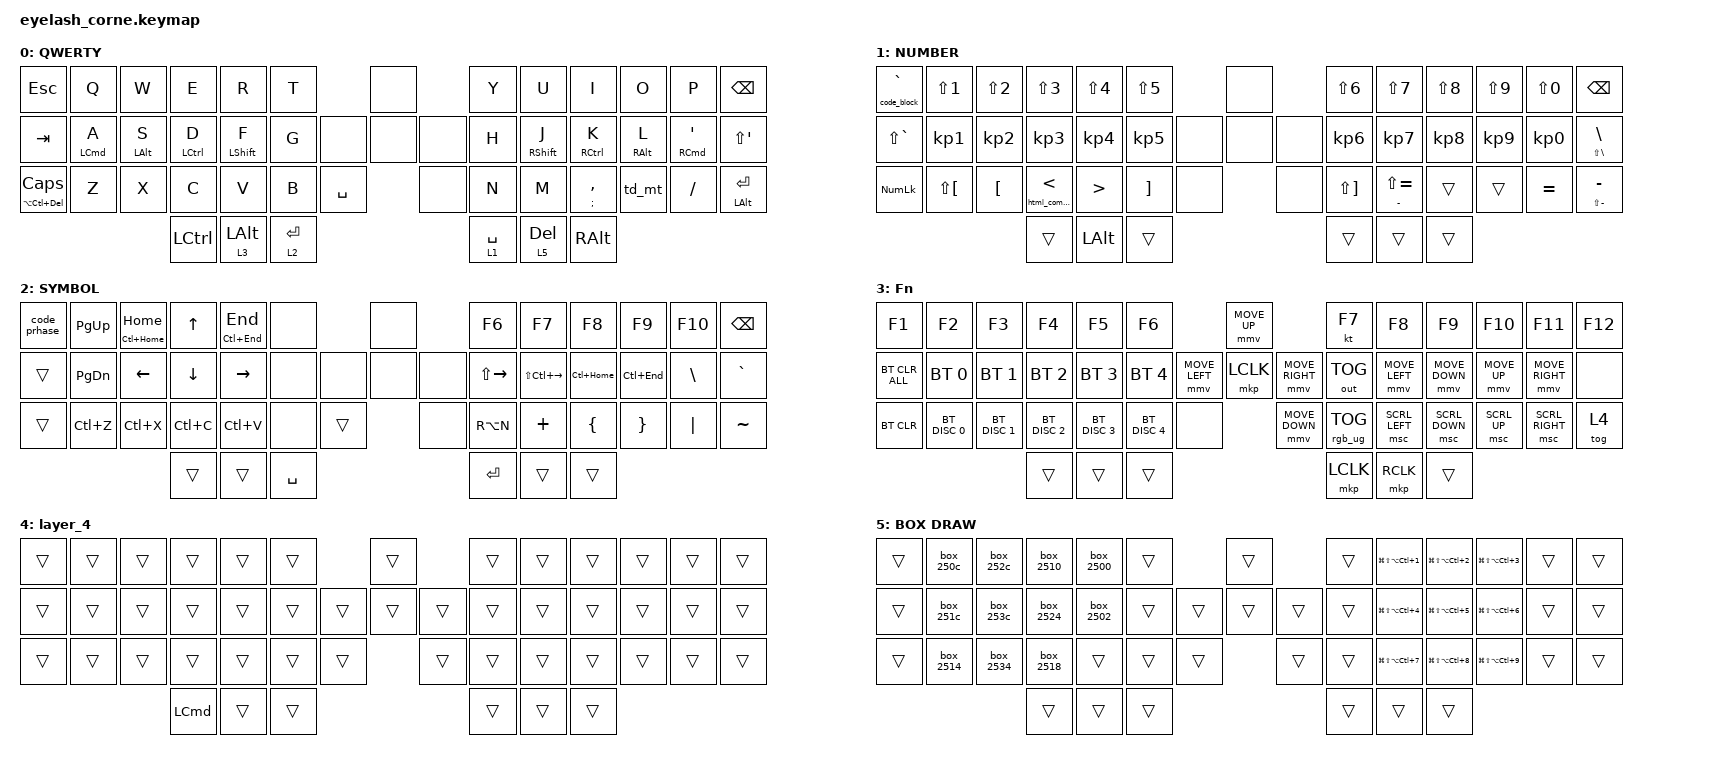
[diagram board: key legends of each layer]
#define ZMK_POINTING_DEFAULT_MOVE_VAL 1200  // 600
#define ZMK_POINTING_DEFAULT_SCRL_VAL 25   // 10

#include <input/processors.dtsi>
#include <zephyr/dt-bindings/input/input-event-codes.h>
#include <behaviors/unicode.dtsi>
#include <zmk-unicode/keys-extra.h>  // All glyphs except CJK
#include <behaviors.dtsi>
#include <dt-bindings/zmk/bt.h>
#include <dt-bindings/zmk/keys.h>
#include <dt-bindings/zmk/outputs.h>
#include <dt-bindings/zmk/pointing.h>
#include <dt-bindings/zmk/rgb.h>

&mmv_input_listener { input-processors = <&zip_xy_scaler 2 1>; };

&msc_input_listener { input-processors = <&zip_scroll_scaler 2 1>; };

&mt {
    tapping-term-ms = <280>; // This is the value already set by default
    flavor = "balanced";
    quick-tap-ms = <175>;
    require-prior-idle-ms = <150>;
};

// Windows HexNumpad input system (EnableHexNumpad registry trick, ver
// segundo-cerebro #871). Requerido: default-mode no tiene valor por
// defecto en el behavior &uc, sin esto el módulo cae al primer valor del
// enum, no necesariamente Windows.
&uc {
    default-mode = <UC_MODE_WIN_ALT>;
};

/ {
    behaviors {
        mt_shift: mt_shift {
            compatible = "zmk,behavior-hold-tap";
            label = "MT_SHIFT";
            #binding-cells = <2>;
            bindings = <&kp>, <&kp>;

            tapping-term-ms = <280>;
            flavor = "balanced";
            quick-tap-ms = <175>;
            require-prior-idle-ms = <50>;
        };
    };
};

&msc {
    acceleration-exponent = <0>;      // 0
    time-to-max-speed-ms = <0>;       // 300
    delay-ms = <0>;                   // 0
};

&mmv {
    time-to-max-speed-ms = <500>;
    acceleration-exponent = <1>;
    trigger-period-ms = <16>;
};

/ {
    behaviors {
        td_mt: tap_dance_mod_tap {
            compatible = "zmk,behavior-tap-dance";
            #binding-cells = <0>;
            tapping-term-ms = <200>;
            bindings = <&hold_tap 0 PERIOD>, <&kp COLON>;
        };

        td0: td0 {
            compatible = "zmk,behavior-tap-dance";
            display-name = "Shift/Caps Lock Tap Dance";
            #binding-cells = <0>;
            bindings = <&kp LEFT_SHIFT>, <&kp CAPS>;
        };

        hold_tap: hold_tap {
            compatible = "zmk,behavior-hold-tap";
            label = "HOLD_TAP";
            bindings = <&triple_dots>, <&kp>;

            #binding-cells = <2>;
            tapping-term-ms = <200>;
        };

        win_ios: win_ios {
            compatible = "zmk,behavior-key-toggle";
            label = "WIN_IOS";
            #binding-cells = <1>;
        };

        bhv_code_block: bhv_code_block {
            compatible = "zmk,behavior-hold-tap";
            label = "BHV_CODE_BLOCK";
            bindings = <&code_block>, <&kp>;

            #binding-cells = <2>;
            tapping-term-ms = <150>;
        };

        bhv_html_comment: bhv_html_comment {
            compatible = "zmk,behavior-hold-tap";
            label = "BHV_HTML_COMMENT";
            bindings = <&html_comment>, <&kp>;

            #binding-cells = <2>;
            tapping-term-ms = <150>;
        };

        bhv_code_phrase: bhv_code_phrase {
            compatible = "zmk,behavior-hold-tap";
            label = "BHV_CODE_PHRASE";
            bindings = <&code_block>, <&kp>;

            #binding-cells = <2>;
            tapping-term-ms = <150>;
        };
    };

    rgb_encoder: rgb_encoder {
        compatible = "zmk,behavior-sensor-rotate";
        #sensor-binding-cells = <0>;
        bindings = <&rgb_ug RGB_BRI>, <&rgb_ug RGB_BRD>;
    };

    scroll_encoder: scroll_encoder {
        compatible = "zmk,behavior-sensor-rotate";
        #sensor-binding-cells = <0>;
        bindings = <&msc SCRL_DOWN>, <&msc SCRL_UP>;

        tap-ms = <100>;
    };

    macros {
        mil_bendiciones: mil_bendiciones {
            compatible = "zmk,behavior-macro";
            #binding-cells = <0>;
            bindings =
                <&macro_tap_time 1>,
                <&kp M &kp I &kp L &kp SPACE &kp B &kp E &kp N &kp D &kp I &kp C &kp I &kp O &kp N &kp E &kp S>;

            label = "MIL_BENDICIONES";
        };

        triple_dots: triple_dots {
            compatible = "zmk,behavior-macro";
            #binding-cells = <0>;
            bindings = <&macro_tap_time 1>, <&kp DOT &kp DOT &kp DOT>;

            label = "TRIPLE_DOTS";
        };

        mil_gracias: mil_gracias {
            compatible = "zmk,behavior-macro";
            #binding-cells = <0>;
            bindings =
                <&macro_tap_time 1>,
                <&kp M &kp I &kp L &kp SPACE &kp G &kp R &kp A &kp C &kp I &kp A &kp S>;

            label = "MIL_GRACIAS";
        };

        code_block: code_block {
            compatible = "zmk,behavior-macro";
            #binding-cells = <0>;
            bindings =
                <&macro_tap_time 1>,
                <&kp GRAVE &kp GRAVE &kp GRAVE &kp SPACE &kp LS(ENTER) &kp LS(ENTER) &kp GRAVE &kp GRAVE &kp GRAVE &kp SPACE &kp UP_ARROW>;

            label = "CODE_BLOCK";
        };

        html_comment: html_comment {
            compatible = "zmk,behavior-macro";
            #binding-cells = <0>;
            bindings =
                <&macro_tap_time 1>,
                <&kp LESS_THAN &kp EXCLAMATION &kp MINUS &kp MINUS &kp SPACE &kp SPACE &kp MINUS &kp MINUS &kp GT &kp SPACE &kp LEFT_ARROW &kp LEFT_ARROW &kp LEFT_ARROW &kp LEFT_ARROW &kp LEFT_ARROW>;

            label = "HTML_COMMENT";
        };

        code_prhase: code_prhase {
            compatible = "zmk,behavior-macro";
            #binding-cells = <0>;
            bindings =
                <&macro_tap_time 1>,
                <&kp GRAVE &kp GRAVE &kp SPACE &kp LEFT &kp LEFT_ARROW>;

            label = "CODE_PRHASE";
        };

        // Macros de la capa BOX DRAW (layer_5). Reemplazan &uc 0x25XX para
        // evitar que UC_MODE_WIN_ALT envie los digitos hex por la fila
        // numerica (N0-N9, colisiona con alt+1..alt+0 de Sublime Text).
        // Misma secuencia que UC_MODE_WIN_ALT (ver behavior_unicode.c de
        // urob/zmk-unicode): sostener LALT, tap KP_PLUS, tap cada digito
        // hex, soltar LALT -- pero con KP_N0-KP_N9 para los digitos
        // numericos, igual que el numpad fisico manual que nunca tuvo el
        // problema. La letra hex "C" (unica que aparece en este bloque)
        // se deja igual, ya funcionaba sin conflicto.
        //
        // &macro_press deja el MACRO ENTERO en modo "solo presionar" hasta
        // el siguiente cambio de modo (no solo la tecla que lo acompana,
        // ver behavior_macro.c de zmkfirmware/zmk), por eso hace falta
        // &macro_tap explicito antes de los digitos para volver a
        // presionar-y-soltar normal; sin eso, KP_PLUS y los digitos
        // quedan fisicamente presionados y nunca se sueltan.
        box_250c: box_250c {
            compatible = "zmk,behavior-macro";
            #binding-cells = <0>;
            bindings =
                <&macro_tap_time 5>,
                <&macro_wait_time 0>,
                <&macro_press &kp LALT>,
                <&macro_tap &kp KP_PLUS &kp KP_N2 &kp KP_N5 &kp KP_N0 &kp C>,
                <&macro_release &kp LALT>;

            label = "BOX_250C";
        };

        box_252c: box_252c {
            compatible = "zmk,behavior-macro";
            #binding-cells = <0>;
            bindings =
                <&macro_tap_time 5>,
                <&macro_wait_time 0>,
                <&macro_press &kp LALT>,
                <&macro_tap &kp KP_PLUS &kp KP_N2 &kp KP_N5 &kp KP_N2 &kp C>,
                <&macro_release &kp LALT>;

            label = "BOX_252C";
        };

        box_2510: box_2510 {
            compatible = "zmk,behavior-macro";
            #binding-cells = <0>;
            bindings =
                <&macro_tap_time 5>,
                <&macro_wait_time 0>,
                <&macro_press &kp LALT>,
                <&macro_tap &kp KP_PLUS &kp KP_N2 &kp KP_N5 &kp KP_N1 &kp KP_N0>,
                <&macro_release &kp LALT>;

            label = "BOX_2510";
        };

        box_2500: box_2500 {
            compatible = "zmk,behavior-macro";
            #binding-cells = <0>;
            bindings =
                <&macro_tap_time 5>,
                <&macro_wait_time 0>,
                <&macro_press &kp LALT>,
                <&macro_tap &kp KP_PLUS &kp KP_N2 &kp KP_N5 &kp KP_N0 &kp KP_N0>,
                <&macro_release &kp LALT>;

            label = "BOX_2500";
        };

        box_251c: box_251c {
            compatible = "zmk,behavior-macro";
            #binding-cells = <0>;
            bindings =
                <&macro_tap_time 5>,
                <&macro_wait_time 0>,
                <&macro_press &kp LALT>,
                <&macro_tap &kp KP_PLUS &kp KP_N2 &kp KP_N5 &kp KP_N1 &kp C>,
                <&macro_release &kp LALT>;

            label = "BOX_251C";
        };

        box_253c: box_253c {
            compatible = "zmk,behavior-macro";
            #binding-cells = <0>;
            bindings =
                <&macro_tap_time 5>,
                <&macro_wait_time 0>,
                <&macro_press &kp LALT>,
                <&macro_tap &kp KP_PLUS &kp KP_N2 &kp KP_N5 &kp KP_N3 &kp C>,
                <&macro_release &kp LALT>;

            label = "BOX_253C";
        };

        box_2524: box_2524 {
            compatible = "zmk,behavior-macro";
            #binding-cells = <0>;
            bindings =
                <&macro_tap_time 5>,
                <&macro_wait_time 0>,
                <&macro_press &kp LALT>,
                <&macro_tap &kp KP_PLUS &kp KP_N2 &kp KP_N5 &kp KP_N2 &kp KP_N4>,
                <&macro_release &kp LALT>;

            label = "BOX_2524";
        };

        box_2502: box_2502 {
            compatible = "zmk,behavior-macro";
            #binding-cells = <0>;
            bindings =
                <&macro_tap_time 5>,
                <&macro_wait_time 0>,
                <&macro_press &kp LALT>,
                <&macro_tap &kp KP_PLUS &kp KP_N2 &kp KP_N5 &kp KP_N0 &kp KP_N2>,
                <&macro_release &kp LALT>;

            label = "BOX_2502";
        };

        box_2514: box_2514 {
            compatible = "zmk,behavior-macro";
            #binding-cells = <0>;
            bindings =
                <&macro_tap_time 5>,
                <&macro_wait_time 0>,
                <&macro_press &kp LALT>,
                <&macro_tap &kp KP_PLUS &kp KP_N2 &kp KP_N5 &kp KP_N1 &kp KP_N4>,
                <&macro_release &kp LALT>;

            label = "BOX_2514";
        };

        box_2534: box_2534 {
            compatible = "zmk,behavior-macro";
            #binding-cells = <0>;
            bindings =
                <&macro_tap_time 5>,
                <&macro_wait_time 0>,
                <&macro_press &kp LALT>,
                <&macro_tap &kp KP_PLUS &kp KP_N2 &kp KP_N5 &kp KP_N3 &kp KP_N4>,
                <&macro_release &kp LALT>;

            label = "BOX_2534";
        };

        box_2518: box_2518 {
            compatible = "zmk,behavior-macro";
            #binding-cells = <0>;
            bindings =
                <&macro_tap_time 5>,
                <&macro_wait_time 0>,
                <&macro_press &kp LALT>,
                <&macro_tap &kp KP_PLUS &kp KP_N2 &kp KP_N5 &kp KP_N1 &kp KP_N8>,
                <&macro_release &kp LALT>;

            label = "BOX_2518";
        };
    };

    combos {
        compatible = "zmk,combos";

        cmb_mil_bendiciones {
            bindings = <&mil_bendiciones>;
            key-positions = <33 37>;
        };

        cmb_mil_gracias {
            bindings = <&mil_gracias>;
            key-positions = <18 37>;
        };

        semi_colon {
            bindings = <&kp COLON>;
            key-positions = <38 39>;
        };
    };

    keymap {
        compatible = "zmk,keymap";

        default_layer {
            display-name = "QWERTY";
            bindings = <
&kp ESCAPE                   &kp Q               &kp W           &kp E               &kp R                   &kp T                            &none         &kp Y        &kp U                    &kp I                &kp O            &kp P                           &kp BSPC
&kp TAB                      &mt LEFT_COMMAND A  &mt LEFT_ALT S  &mt LEFT_CONTROL D  &mt_shift LEFT_SHIFT F  &kp G                     &none  &none  &none  &kp H        &mt_shift RIGHT_SHIFT J  &mt RIGHT_CONTROL K  &mt RIGHT_ALT L  &mt RIGHT_COMMAND SINGLE_QUOTE  &kp LS(SINGLE_QUOTE)
&mt LA(LC(DELETE)) CAPSLOCK  &kp Z               &kp X           &kp C               &kp V                   &kp B        &kp SPACE           &none         &kp N        &kp M                    &mt SEMICOLON COMMA  &td_mt           &kp FSLH                        &mt LEFT_ALT ENTER
                                                                 &kp LEFT_CONTROL    &lt 3 LEFT_ALT          &lt 2 ENTER                                    &lt 1 SPACE  &lt 5 DEL                &kp RALT
            >;

            // sensor-bindings = <&inc_dec_kp C_VOLUME_UP C_VOLUME_DOWN>;
        };

        lower_layer {
            display-name = "NUMBER";
            bindings = <
&bhv_code_block 0 GRAVE  &kp LS(NUMBER_1)      &kp LS(NUMBER_2)  &kp LS(NUMBER_3)               &kp LS(NUMBER_4)  &kp LS(NUMBER_5)                   &none         &kp LS(NUMBER_6)       &kp LS(NUMBER_7)     &kp LS(NUMBER_8)  &kp LS(NUMBER_9)  &kp LS(NUMBER_0)  &kp BSPC
&kp LS(GRAVE)            &kp KP_N1             &kp KP_N2         &kp KP_N3                      &kp KP_N4         &kp KP_N5                   &none  &none  &none  &kp KP_N6              &kp KP_N7            &kp KP_N8         &kp KP_N9         &kp KP_N0         &mt LS(BACKSLASH) BACKSLASH
&kp KP_NLCK              &kp LS(LEFT_BRACKET)  &kp LEFT_BRACKET  &bhv_html_comment 0 LESS_THAN  &kp GREATER_THAN  &kp RIGHT_BRACKET  &none           &none         &kp LS(RIGHT_BRACKET)  &mt MINUS LS(EQUAL)  &trans            &trans            &kp EQUAL         &mt LS(MINUS) MINUS
                                                                 &trans                         &kp LEFT_ALT      &trans                                           &trans                 &trans               &trans
            >;
        };

        raise_layer {
            display-name = "SYMBOL";
            bindings = <
&code_prhase  &kp PAGE_UP    &mt LC(HOME) HOME  &kp UP_ARROW    &mt LC(END) END  &none                       &none         &kp F6               &kp F7                   &kp F8        &kp F9       &kp F10   &kp BSPC
&trans        &kp PAGE_DOWN  &kp LEFT_ARROW     &kp DOWN_ARROW  &kp RIGHT_ARROW  &none                &none  &none  &none  &kp LS(RIGHT_ARROW)  &kp LS(LC(RIGHT_ARROW))  &kp LC(HOME)  &kp LC(END)  &kp BSLH  &kp GRAVE
&trans        &kp LC(Z)      &kp LC(X)          &kp LC(C)       &kp LC(V)        &none      &trans           &none         &kp RA(N)            &kp PLUS                 &kp LBRC      &kp RBRC     &kp PIPE  &kp TILDE
                                                &trans          &trans           &kp SPACE                                 &kp RET              &trans                   &trans
            >;
        };

        layer_3 {
            display-name = "Fn";
            bindings = <
&kp F1          &kp F2         &kp F3         &kp F4         &kp F5         &kp F6                                  &mmv MOVE_UP                     &kt F7           &kp F8          &kp F9          &kp F10       &kp F11          &kp F12
&bt BT_CLR_ALL  &bt BT_SEL 0   &bt BT_SEL 1   &bt BT_SEL 2   &bt BT_SEL 3   &bt BT_SEL 4            &mmv MOVE_LEFT  &mkp LCLK       &mmv MOVE_RIGHT  &out OUT_TOG     &mmv MOVE_LEFT  &mmv MOVE_DOWN  &mmv MOVE_UP  &mmv MOVE_RIGHT  &none
&bt BT_CLR      &bt BT_DISC 0  &bt BT_DISC 1  &bt BT_DISC 2  &bt BT_DISC 3  &bt BT_DISC 4  &none                    &mmv MOVE_DOWN                   &rgb_ug RGB_TOG  &msc SCRL_LEFT  &msc SCRL_DOWN  &msc SCRL_UP  &msc SCRL_RIGHT  &tog 4
                                              &trans         &trans         &trans                                                                   &mkp LCLK        &mkp RCLK       &trans
            >;
        };

        layer_4 {
            bindings = <
&trans  &trans  &trans  &trans            &trans  &trans                    &trans          &trans  &trans  &trans  &trans  &trans  &trans
&trans  &trans  &trans  &trans            &trans  &trans            &trans  &trans  &trans  &trans  &trans  &trans  &trans  &trans  &trans
&trans  &trans  &trans  &trans            &trans  &trans  &trans            &trans          &trans  &trans  &trans  &trans  &trans  &trans
                        &kp LEFT_COMMAND  &trans  &trans                                    &trans  &trans  &trans
            >;
        };

        layer_5 {
            display-name = "BOX DRAW";
            bindings = <
&trans  &box_250c  &box_252c  &box_2510  &box_2500  &trans                    &trans          &trans  &kp LG(LS(LA(LC(N1))))  &kp LG(LS(LA(LC(N2))))  &kp LG(LS(LA(LC(N3))))  &trans  &trans
&trans  &box_251c  &box_253c  &box_2524  &box_2502  &trans            &trans  &trans  &trans  &trans  &kp LG(LS(LA(LC(N4))))  &kp LG(LS(LA(LC(N5))))  &kp LG(LS(LA(LC(N6))))  &trans  &trans
&trans  &box_2514  &box_2534  &box_2518  &trans        &trans  &trans            &trans          &trans  &kp LG(LS(LA(LC(N7))))  &kp LG(LS(LA(LC(N8))))  &kp LG(LS(LA(LC(N9))))  &trans  &trans
                                    &trans        &trans        &trans                                    &trans  &trans                  &trans
            >;
        };
    };
};
